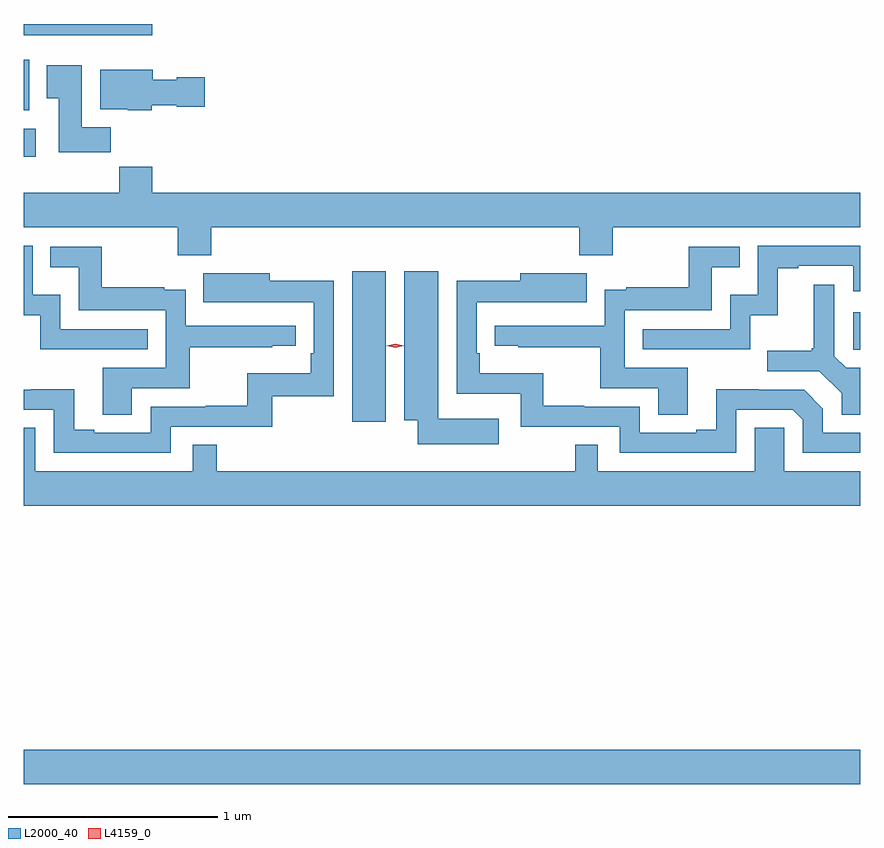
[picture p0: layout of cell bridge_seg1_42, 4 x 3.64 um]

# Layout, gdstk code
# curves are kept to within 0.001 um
import gdstk
lib = gdstk.Library(unit=1e-6, precision=1e-09)
def R(c, l, rs):  # rectangles x0, y0, x1, y1
    for r in rs: c.add(gdstk.rectangle(r[:2], r[2:], *l))
def P(c, l, *ps):  # polygons
    for p in ps: c.add(gdstk.Polygon(p, *l))
L2000_40 = (2000, 40)
L4159_0 = (4159, 0)

bridge_seg1_42 = lib.new_cell('bridge_seg1_42')
R(bridge_seg1_42, L2000_40, [(1081.284,531.752,1085.284,531.916), (1082.855,533.484,1083.016,534.205), (1085.25,533.829,1085.284,534.009), (1081.284,534.752,1081.342,534.886), (1081.284,534.974,1081.309,535.216), (1081.284,535.334,1081.898,535.387)])
P(bridge_seg1_42, L2000_40, [(1081.7,534.892),(1081.561,534.892),(1081.561,535.189),(1081.394,535.189),(1081.394,535.033),(1081.451,535.033),(1081.451,534.774),(1081.7,534.774)],
  [(1081.896,534.998),(1082.016,534.998),(1082.016,534.991),(1082.149,534.991),(1082.149,535.133),(1082.016,535.133),(1082.016,535.12),(1081.9,535.12),(1081.9,535.168),(1081.649,535.168),(1081.649,534.98),(1081.782,534.98),(1081.782,534.974),(1081.896,534.974)],
  [(1082.18,534.416),(1083.941,534.416),(1083.941,534.281),(1084.101,534.281),(1084.101,534.416),(1085.284,534.416),(1085.284,534.58),(1081.898,534.58),(1081.898,534.704),(1081.741,534.704),(1081.741,534.58),(1081.284,534.58),(1081.284,534.416),(1082.02,534.416),(1082.02,534.281),(1082.18,534.281)],
  [(1081.877,533.928),(1081.458,533.928),(1081.458,534.091),(1081.326,534.091),(1081.326,534.327),(1081.284,534.327),(1081.284,533.993),(1081.362,533.993),(1081.362,533.832),(1081.877,533.832)],
  [(1084.758,533.993),(1084.891,533.993),(1084.891,534.219),(1084.987,534.219),(1084.987,534.231),(1085.25,534.231),(1085.25,534.108),(1085.284,534.108),(1085.284,534.327),(1084.794,534.327),(1084.794,534.091),(1084.662,534.091),(1084.662,533.928),(1084.243,533.928),(1084.243,533.832),(1084.758,533.832)],
  [(1084.459,533.742),(1084.158,533.742),(1084.158,534.018),(1084.575,534.018),(1084.575,534.224),(1084.709,534.224),(1084.709,534.321),(1084.464,534.321),(1084.464,534.127),(1084.165,534.127),(1084.165,534.115),(1084.062,534.115),(1084.062,533.943),(1083.537,533.943),(1083.537,533.847),(1083.649,533.847),(1083.649,533.842),(1084.042,533.842),(1084.042,533.646),(1084.319,533.646),(1084.319,533.518),(1084.459,533.518)],
  [(1081.801,533.646),(1082.078,533.646),(1082.078,533.842),(1082.471,533.842),(1082.471,533.847),(1082.584,533.847),(1082.584,533.943),(1082.058,533.943),(1082.058,534.115),(1081.955,534.115),(1081.955,534.127),(1081.657,534.127),(1081.657,534.321),(1081.411,534.321),(1081.411,534.224),(1081.546,534.224),(1081.546,534.018),(1081.962,534.018),(1081.962,533.742),(1081.661,533.742),(1081.661,533.518),(1081.801,533.518)],
  [(1083.556,533.5),(1083.265,533.5),(1083.265,534.205),(1083.104,534.205),(1083.104,533.492),(1083.167,533.492),(1083.167,533.378),(1083.556,533.378)],
  [(1084.692,533.541),(1084.962,533.541),(1085.01,533.493),(1085.01,533.337),(1085.284,533.337),(1085.284,533.433),(1085.106,533.433),(1085.106,533.547),(1085.016,533.637),(1084.8,533.637),(1084.8,533.639),(1084.595,533.639),(1084.595,533.446),(1084.499,533.446),(1084.499,533.433),(1084.23,533.433),(1084.23,533.556),(1083.965,533.556),(1083.965,533.561),(1083.769,533.561),(1083.769,533.716),(1083.464,533.716),(1083.464,533.812),(1083.45,533.812),(1083.45,534.057),(1083.977,534.056),(1083.977,534.196),(1083.659,534.196),(1083.659,534.158),(1083.354,534.158),(1083.354,533.619),(1083.66,533.619),(1083.66,533.46),(1084.134,533.46),(1084.134,533.337),(1084.692,533.337)],
  [(1081.986,533.46),(1082.473,533.46),(1082.473,533.607),(1082.766,533.607),(1082.766,534.158),(1082.461,534.158),(1082.461,534.196),(1082.143,534.196),(1082.143,534.056),(1082.357,534.056),(1082.357,534.057),(1082.67,534.057),(1082.67,533.812),(1082.657,533.812),(1082.657,533.716),(1082.352,533.716),(1082.352,533.561),(1082.155,533.561),(1082.155,533.556),(1081.89,533.556),(1081.89,533.433),(1081.621,533.433),(1081.621,533.446),(1081.525,533.446),(1081.525,533.639),(1081.32,533.639),(1081.32,533.637),(1081.284,533.637),(1081.284,533.541),(1081.428,533.541),(1081.428,533.337),(1081.986,533.337)],
  [(1085.284,533.742),(1085.217,533.742),(1085.16,533.799),(1085.16,534.139),(1085.063,534.139),(1085.063,533.836),(1085.052,533.836),(1085.052,533.824),(1084.839,533.824),(1084.839,533.727),(1085.088,533.727),(1085.195,533.62),(1085.195,533.518),(1085.284,533.518)],
  [(1085.284,533.248),(1084.92,533.248),(1084.92,533.456),(1084.781,533.456),(1084.781,533.248),(1084.029,533.248),(1084.029,533.375),(1083.921,533.375),(1083.921,533.248),(1082.207,533.248),(1082.207,533.375),(1082.091,533.375),(1082.091,533.248),(1081.339,533.248),(1081.339,533.456),(1081.284,533.456),(1081.284,533.084),(1085.284,533.084)])
P(bridge_seg1_42, L4159_0, [(1083.06,533.838),(1083.02,533.848),(1083.02,533.848),(1083.02,533.848),(1083.06,533.858),(1083.1,533.848),(1083.1,533.848),(1083.1,533.848)])

lib.write_gds('bridge_seg1_42.gds')
